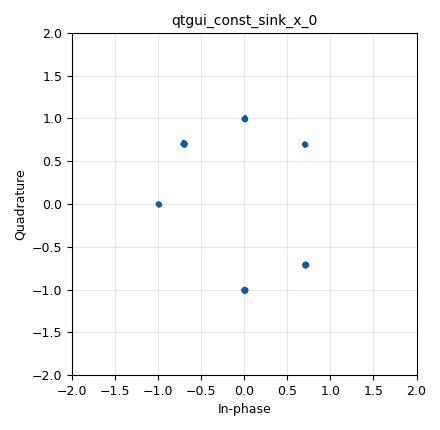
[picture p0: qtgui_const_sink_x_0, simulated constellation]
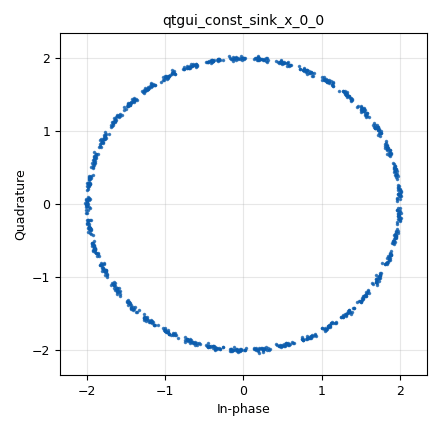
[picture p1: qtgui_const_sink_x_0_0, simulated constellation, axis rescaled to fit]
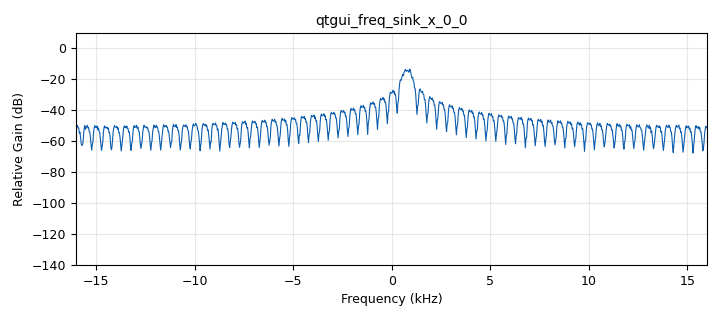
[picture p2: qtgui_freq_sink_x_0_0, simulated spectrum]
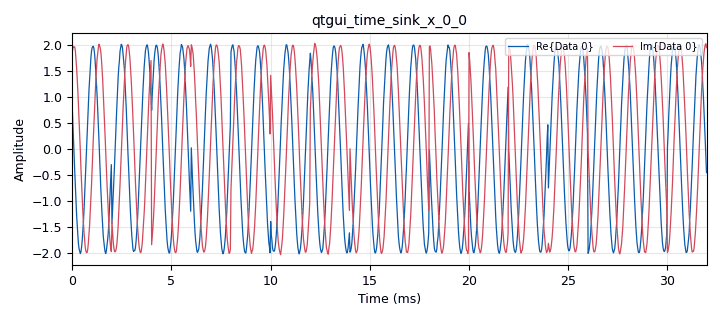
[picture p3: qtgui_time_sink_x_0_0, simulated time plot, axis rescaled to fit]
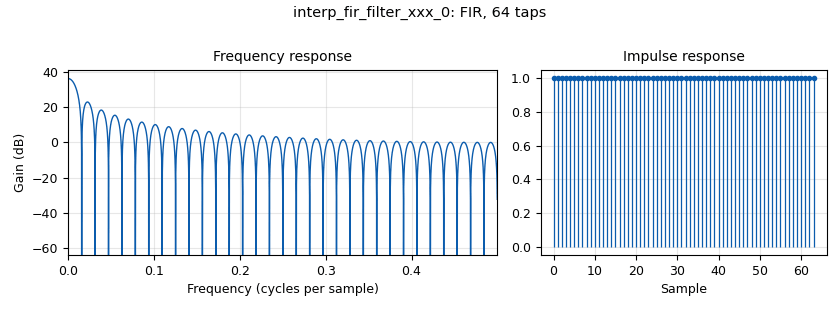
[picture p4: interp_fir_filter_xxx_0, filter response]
options:
  parameters:
    generate_options: qt_gui
    id: 8PSKup
    output_language: python
    title: Not titled yet
  states: {}

blocks:
- name: M
  id: variable
  parameters:
    value: len(tabla_de_verdad_constelacion )
  states: {}
- name: Rb
  id: variable
  parameters:
    value: Rs*bps
  states: {}
- name: Rs
  id: variable
  parameters:
    value: '32000'
  states: {}
- name: Sps
  id: variable
  parameters:
    value: '64'
  states: {}
- name: bps
  id: variable
  parameters:
    value: int(math.log(M,2))
  states: {}
- name: h
  id: variable
  parameters:
    value: '[1]*Sps'
  states: {}
- name: samp_rate_0
  id: variable
  parameters:
    value: Rs*Sps
  states: {}
- name: tabla_de_verdad_constelacion
  id: variable
  parameters:
    value: (1 + 0j, 0.7 + 0.7j, 0 + 1j, -0.7071 + 0.7071j, -1 + 0j, -0.7071 - 0.7071j, 0 - 1j, 0.7071 - 0.7071j)
  states: {}
- name: analog_noise_source_x_0
  id: analog_noise_source_x
  parameters:
    amp: '0.01'
    noise_type: analog.GR_GAUSSIAN
    seed: '0'
    type: complex
  states: {}
- name: analog_random_source_x_0
  id: analog_random_source_x
  parameters:
    max: '2'
    min: '0'
    num_samps: '1000'
    repeat: 'True'
    type: byte
  states: {}
- name: analog_sig_source_x_0
  id: analog_sig_source_x
  parameters:
    amp: '1'
    freq: '50000'
    offset: '0'
    phase: '0'
    samp_rate: samp_rate_0
    type: complex
    waveform: analog.GR_COS_WAVE
  states: {}
- name: analog_sig_source_x_0_0
  id: analog_sig_source_x
  parameters:
    amp: '1'
    freq: '50000'
    offset: '0'
    phase: '0'
    samp_rate: samp_rate_0
    type: complex
    waveform: analog.GR_SIN_WAVE
  states: {}
- name: blocks_add_xx_0
  id: blocks_add_xx
  parameters:
    type: complex
  states: {}
- name: blocks_add_xx_1
  id: blocks_add_xx
  parameters:
    type: complex
  states: {}
- name: blocks_multiply_xx_0
  id: blocks_multiply_xx
  parameters:
    type: complex
  states: {}
- name: blocks_multiply_xx_0_0
  id: blocks_multiply_xx
  parameters:
    type: complex
  states: {}
- name: blocks_pack_k_bits_bb_0
  id: blocks_pack_k_bits_bb
  parameters:
    k: '8'
  states: {}
- name: blocks_packed_to_unpacked_xx_0
  id: blocks_packed_to_unpacked_xx
  parameters:
    bits_per_chunk: bps
    endianness: gr.GR_MSB_FIRST
    type: byte
  states: {}
- name: digital_chunks_to_symbols_xx_0
  id: digital_chunks_to_symbols_xx
  parameters:
    dimension: '1'
    in_type: byte
    out_type: complex
    symbol_table: tabla_de_verdad_constelacion
  states: {}
- name: import_0
  id: import
  parameters:
    imports: import math
  states: {}
- name: interp_fir_filter_xxx_0
  id: interp_fir_filter_xxx
  parameters:
    interp: Sps
    taps: h
    type: ccf
  states: {}
- name: qtgui_const_sink_x_0
  id: qtgui_const_sink_x
  parameters:
    size: '1024'
    type: complex
  states: {}
- name: qtgui_const_sink_x_0_0
  id: qtgui_const_sink_x
  parameters:
    size: '1024'
    type: complex
  states: {}
- name: qtgui_freq_sink_x_0
  id: qtgui_freq_sink_x
  parameters:
    average: '0.05'
    bw: Rs
    fc: '0'
    fftsize: '1024'
    type: complex
  states: {state: disabled}
- name: qtgui_freq_sink_x_0_0
  id: qtgui_freq_sink_x
  parameters:
    average: '0.05'
    bw: Rs
    fc: '0'
    fftsize: '1024'
    type: complex
  states: {}
- name: qtgui_time_sink_x_0
  id: qtgui_time_sink_x
  parameters:
    size: '1024'
    srate: Rs
    type: complex
  states: {state: disabled}
- name: qtgui_time_sink_x_0_0
  id: qtgui_time_sink_x
  parameters:
    size: '1024'
    srate: Rs
    type: complex
  states: {}
- name: virtual_sink_0
  id: virtual_sink
  parameters:
    stream_id: p1
  states: {}
- name: virtual_sink_0_0
  id: virtual_sink
  parameters:
    stream_id: p0
  states: {}
- name: virtual_source_0
  id: virtual_source
  parameters:
    stream_id: p1
  states: {}
- name: virtual_source_0_0
  id: virtual_source
  parameters:
    stream_id: p0
  states: {state: disabled}
- name: virtual_source_0_1
  id: virtual_source
  parameters:
    stream_id: p1
  states: {}

connections:
- [analog_noise_source_x_0, '0', blocks_add_xx_0, '0']
- [analog_random_source_x_0, '0', blocks_pack_k_bits_bb_0, '0']
- [analog_sig_source_x_0, '0', blocks_multiply_xx_0, '1']
- [analog_sig_source_x_0_0, '0', blocks_multiply_xx_0_0, '1']
- [blocks_add_xx_0, '0', virtual_sink_0, '0']
- [blocks_add_xx_1, '0', qtgui_const_sink_x_0_0, '0']
- [blocks_add_xx_1, '0', qtgui_freq_sink_x_0_0, '0']
- [blocks_add_xx_1, '0', qtgui_time_sink_x_0_0, '0']
- [blocks_multiply_xx_0, '0', blocks_add_xx_1, '0']
- [blocks_multiply_xx_0_0, '0', blocks_add_xx_1, '1']
- [blocks_pack_k_bits_bb_0, '0', blocks_packed_to_unpacked_xx_0, '0']
- [blocks_packed_to_unpacked_xx_0, '0', digital_chunks_to_symbols_xx_0, '0']
- [digital_chunks_to_symbols_xx_0, '0', interp_fir_filter_xxx_0, '0']
- [interp_fir_filter_xxx_0, '0', blocks_add_xx_0, '1']
- [interp_fir_filter_xxx_0, '0', virtual_sink_0_0, '0']
- [virtual_source_0, '0', qtgui_const_sink_x_0, '0']
- [virtual_source_0, '0', qtgui_time_sink_x_0, '0']
- [virtual_source_0_0, '0', qtgui_freq_sink_x_0, '0']
- [virtual_source_0_1, '0', blocks_multiply_xx_0, '0']
- [virtual_source_0_1, '0', blocks_multiply_xx_0_0, '0']

metadata:
  file_format: 1
  grc_version: 3.10.12.0
